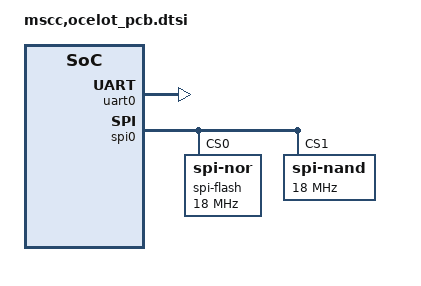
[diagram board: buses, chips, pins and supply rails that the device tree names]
// SPDX-License-Identifier: (GPL-2.0+ OR MIT)
/*
 * Copyright (c) 2018 Microsemi Corporation
 */

/dts-v1/;
#include "mscc,ocelot.dtsi"

/ {
	compatible = "mscc,ocelot";

	aliases {
		spi0 = &spi0;
		serial0 = &uart0;
	};

	chosen {
		stdout-path = "serial0:115200n8";
	};
};

&uart0 {
	status = "okay";
};

&spi0 {
	status = "okay";
	pinctrl-0 = <&spi_cs1_pin>;
	pinctrl-names = "default";

	spi-flash@0 {
		compatible = "jedec,spi-nor";
		spi-max-frequency = <18000000>; /* input clock */
		reg = <0>; /* CS0 */
	};

	spi-nand@1 {
		compatible = "spi-nand";
		spi-max-frequency = <18000000>; /* input clock */
		reg = <1>; /* CS1 */
	};
};
